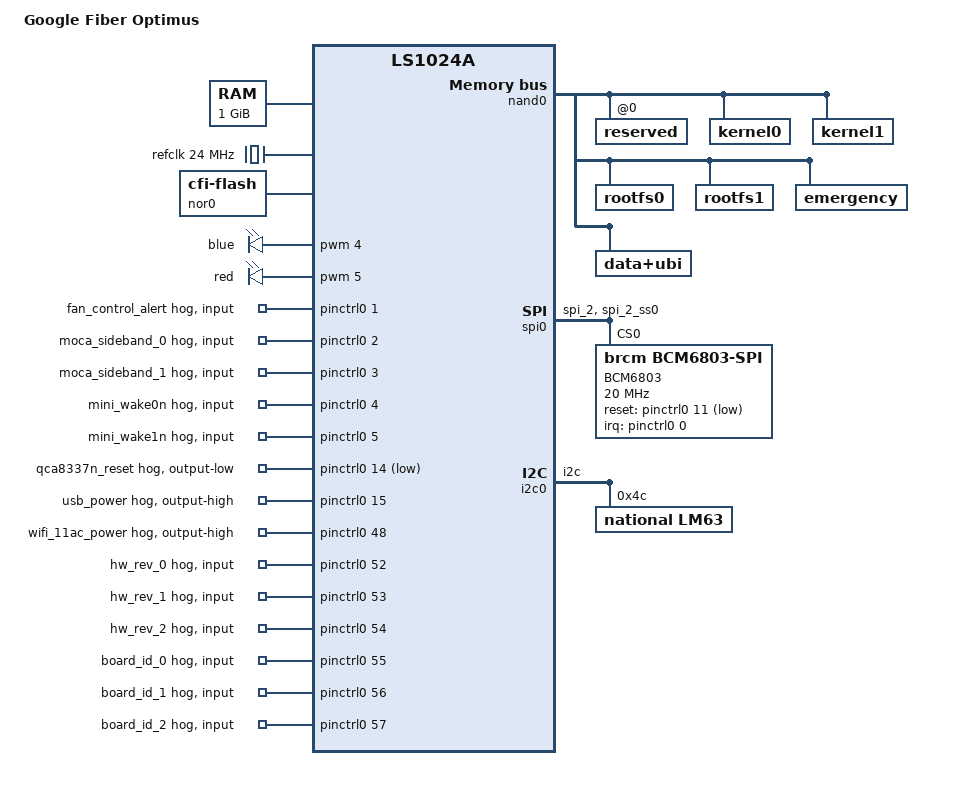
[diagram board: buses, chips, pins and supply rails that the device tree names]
/dts-v1/;

#include "ls1024a.dtsi"
/ {
	model = "Google Fiber Optimus";
	compatible = "google,optimus", "fsl,ls1024a";

	memory {
		device_type = "memory";
		reg = <0x80000000 0x40000000>; /* 1 GB */
	};

	refclk: oscillator {
		compatible = "fixed-clock";
		#clock-cells = <0>;
		clock-frequency = <24000000>;
	};

	nor0: flash@c0000000 {
		compatible = "cfi-flash";
		reg = <0xc0000000 0x04000000>;
		bank-width = <2>;
		#address-cells = <1>;
		#size-cells = <1>;
		uloader@0 {
			label = "uloader";
			reg = <0x0 0x20000>;
		};
		loader0@20000 {
			label = "loader0";
			reg = <0x20000 0x80000>;
		};
		loader1@a0000 {
			label = "loader1";
			reg = <0xa0000 0x80000>;
		};
		env@120000 {
			label = "env";
			reg = <0x120000 0x20000>;
		};
		hnvram@140000 {
			label = "hnvram";
			reg = <0x140000 0x200000>;
		};
		norreserved0@340000 {
			label = "norreserved0";
			reg = <0x340000 0x3cc0000>;
		};
	};

	nand0: nand@c8300000 {
		compatible = "fsl,ls1024a-nand";
		#address-cells = <1>;
		#size-cells = <1>;
		reg = <0xc8300000 0x2000
		       0xCFFF0000 0x2c>;
		ce-gpios = <&pinctrl0 28 GPIO_ACTIVE_HIGH>;
		br-gpios = <&pinctrl0 29 GPIO_ACTIVE_HIGH>;
		reserved@0 {
			label = "reserved";
			reg = <0x0 0x800000>;
		};
		kernel0@800000 {
			label = "kernel0";
			reg = <0x800000 0x2000000>;
		};
		kernel1@2800000 {
			label = "kernel1";
			reg = <0x2800000 0x2000000>;
		};
		rootfs0@4800000 {
			label = "rootfs0";
			reg = <0x4800000 0x12000000>;
		};
		rootfs1@16800000 {
			label = "rootfs1";
			reg = <0x16800000 0x12000000>;
		};
		emergency@28800000 {
			label = "emergency";
			reg = <0x28800000 0x2000000>;
		};
		data+ubi@2a800000 {
			label = "data+ubi";
			reg = <0x2a800000 0x55800000>;
		};
	};

	pwmleds {
		compatible = "pwm-leds";
		pinctrl-names = "default";
		pinctrl-0 = <&pinctrl_optimus_leds>;

		pwmledblue: pwmledblue {
			label = "blue";
			pwms = <&pwm 4 1000000>;
			max-brightness = <200>;
		};
		pwmledred: pwmledred {
			label = "red";
			pwms = <&pwm 5 1000000>;
			max-brightness = <200>;
			linux,default-trigger = "default-on";
		};
	};
};

&pinctrl0 {
	fan_control_alert {
		gpio-hog;
		gpios = <1 GPIO_ACTIVE_HIGH>;
		input;
		line-name = "fan_control_alert";
	};
	moca_sideband_0 {
		gpio-hog;
		gpios = <2 GPIO_ACTIVE_HIGH>;
		input;
		line-name = "moca_sideband_0";
	};
	moca_sideband_1 {
		gpio-hog;
		gpios = <3 GPIO_ACTIVE_HIGH>;
		input;
		line-name = "moca_sideband_1";
	};
	mini_wake0n {
		gpio-hog;
		gpios = <4 GPIO_ACTIVE_HIGH>;
		input;
		line-name = "mini_wake0n";
	};
	mini_wake1n {
		gpio-hog;
		gpios = <5 GPIO_ACTIVE_HIGH>;
		input;
		line-name = "mini_wake1n";
	};
	qca8337n_reset {
		gpio-hog;
		gpios = <14 GPIO_ACTIVE_LOW>;
		output-low;
		line-name = "qca8337n_reset";
	};
	usb_power {
		gpio-hog;
		gpios = <15 GPIO_ACTIVE_HIGH>;
		output-high;
		line-name = "usb_power";
	};
	11ac_power {
		gpio-hog;
		gpios = <48 GPIO_ACTIVE_HIGH>;
		output-high;
		line-name = "wifi_11ac_power";
	};
	hw_rev_0 {
		gpio-hog;
		gpios = <52 GPIO_ACTIVE_HIGH>;
		input;
		line-name = "hw_rev_0";
	};
	hw_rev_1 {
		gpio-hog;
		gpios = <53 GPIO_ACTIVE_HIGH>;
		input;
		line-name = "hw_rev_1";
	};
	hw_rev_2 {
		gpio-hog;
		gpios = <54 GPIO_ACTIVE_HIGH>;
		input;
		line-name = "hw_rev_2";
	};
	board_id_0 {
		gpio-hog;
		gpios = <55 GPIO_ACTIVE_HIGH>;
		input;
		line-name = "board_id_0";
	};
	board_id_1 {
		gpio-hog;
		gpios = <56 GPIO_ACTIVE_HIGH>;
		input;
		line-name = "board_id_1";
	};
	board_id_2 {
		gpio-hog;
		gpios = <57 GPIO_ACTIVE_HIGH>;
		input;
		line-name = "board_id_2";
	};
	pinctrl_optimus_leds: optimus-leds-grp {
		leds {
			groups = "pwm4", "pwm5";
			function = "pwm";
		};
	};
	pinctrl_i2c: i2cgrp {
		i2c {
			groups = "i2c";
			function = "i2c";
		};
	};
	pinctrl_spi: spigrp {
		spi {
			groups = "spi_2", "spi_2_ss0";
			function = "spi_2";
		};
	};
};

&spi0 {
		pinctrl-names = "default";
		pinctrl-0 = <&pinctrl_spi>;
		BCM6803@0 {
			compatible = "brcm,bcm6803-spi";
			spi-max-frequency = <20000000>;
			interrupt-parent = <&pinctrl0>;
			interrupts = <0 IRQ_TYPE_LEVEL_HIGH>;
			reg = <0>;
			spi-cpol;
			spi-cpha;
			rf-band = "ext_d";
			i2c-base = <0x10406200>;
			i2c-addr = <0x70>;
			reset-gpios = <&pinctrl0 11 GPIO_ACTIVE_LOW>;
			if-name = "moca0";
		};
};

&i2c0 {
	pinctrl-names = "default";
	pinctrl-0 = <&pinctrl_i2c>;
	lm63: lm63@4c {
		compatible = "national,lm63";
		reg = <0x4c>;
	};
};
